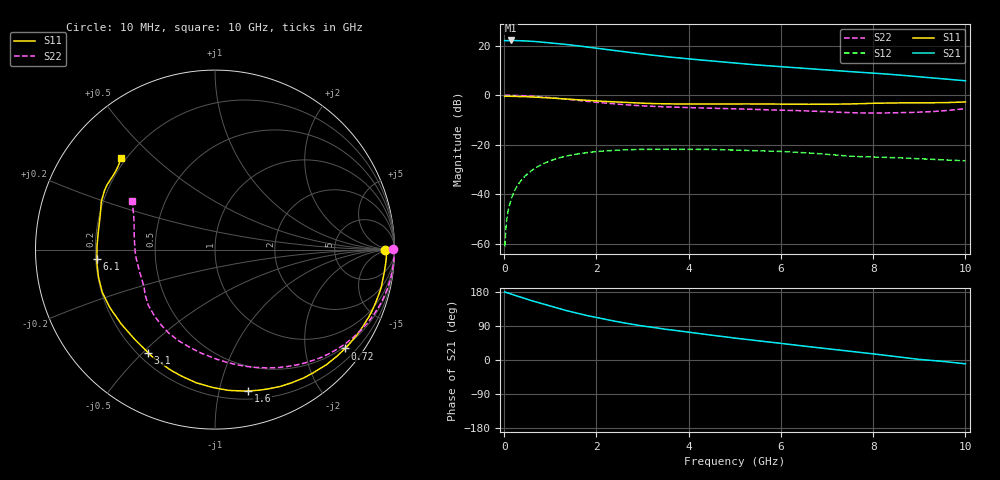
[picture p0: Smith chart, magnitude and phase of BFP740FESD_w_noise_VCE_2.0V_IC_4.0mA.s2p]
! Infineon Technologies  Discrete & RF Semiconductors
! BFP740FESD
! VCE =  2.0 V,  IC =  4.0 mA
! Common Emitter S-Parameters:  Jan 2016
# GHz  S  MA  R  50
!  f  S11  S21  S12  S22
! GHz  MAG  ANG  MAG  ANG  MAG  ANG  MAG  ANG
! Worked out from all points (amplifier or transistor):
!   233 points, 10 MHz to 10 GHz, reference 50 ohm
!   highest |S21| = 22.1 dB at 150 MHz (marker M1)
!   |S21| within 3 dB of that: start of sweep to 1.95 GHz
!   unconditionally stable (mu >= 1): 7.333 GHz to end of sweep
!   at 200 MHz: K = 0.01, MSG = 30.9 dB, |S12| = -39.7 dB
!   at 1.74 GHz: K = 0.17, MSG = 21.4 dB, |S12| = -23.3 dB
!   at 10 GHz: K = 1.58, MAG = 11.7 dB, |S12| = -26.5 dB
!   lowest NFmin = 0.46 dB at 450 MHz
!   S11 on the Smith chart (normalised r, x): 10 MHz: 37, -2; 720 MHz: 0.45, -2.91; 1.6 GHz: 0.27, -1.22; 3.1 GHz: 0.24, -0.52; 6.1 GHz: 0.20, -0.04; 10 GHz: 0.18, +0.40
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0.01  0.9473 -0.2  12.66 179.7  0.0009 135.4  0.9913 0.3
0.06  0.9551 -3.2  12.65 177.6  0.0033 88.6  0.9986 -2.3
0.15  0.9512 -8.0  12.73 174.1  0.0078 84.9  0.9965 -5.7
0.36  0.942 -18.9  12.59 165.8  0.0187 78.0  0.9834 -13.5
0.6  0.923 -31.1  12.22 156.4  0.0304 70.1  0.9565 -22.2
0.72  0.9105 -37.2  12.01 152.1  0.0359 66.1  0.9397 -26.4
0.92  0.8895 -46.8  11.58 144.9  0.0444 59.9  0.9081 -33.3
1.2  0.8566 -59.9  10.94 135.3  0.0547 51.7  0.8584 -42.7
1.6  0.8093 -76.9  9.923 122.8  0.0657 40.8  0.7847 -55.1
1.68  0.8 -79.9  9.705 120.6  0.0674 38.9  0.771 -57.3
2.02  0.7649 -92.0  8.838 111.5  0.0732 31.5  0.7186 -66.5
2.4  0.7311 -104.2  7.984 102.3  0.0778 24.0  0.6685 -76.1
2.78  0.7011 -115.2  7.199 94.1  0.0801 17.6  0.6276 -84.8
3.1  0.6844 -123.1  6.624 88.2  0.0808 13.0  0.6035 -90.9
3.4  0.6726 -129.7  6.15 83.0  0.081 9.2  0.5867 -95.8
4.4  0.6671 -149.1  5.009 67.0  0.0807 -0.8  0.5494 -110.2
5.1  0.67 -160.7  4.375 56.5  0.0781 -7.2  0.5284 -120.0
6.1  0.6604 -175.5  3.72 42.4  0.0725 -14.8  0.4966 -133.8
6.8  0.6565 173.8  3.337 32.6  0.0663 -19.0  0.4721 -143.8
8.4  0.6984 151.8  2.627 10.3  0.0552 -18.2  0.4418 -173.7
9  0.7011 145.1  2.354 1.6  0.0522 -18.3  0.4558 171.0
10  0.7308 135.5  1.956 -10.1  0.0475 -15.2  0.5357 149.4
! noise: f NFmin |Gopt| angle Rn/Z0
0.45  0.46  0.63  6  0.14
2.4  0.64  0.36  45  0.14
5.5  0.85  0.44  128  0.09
10  1.65  0.47  -141  0.15
